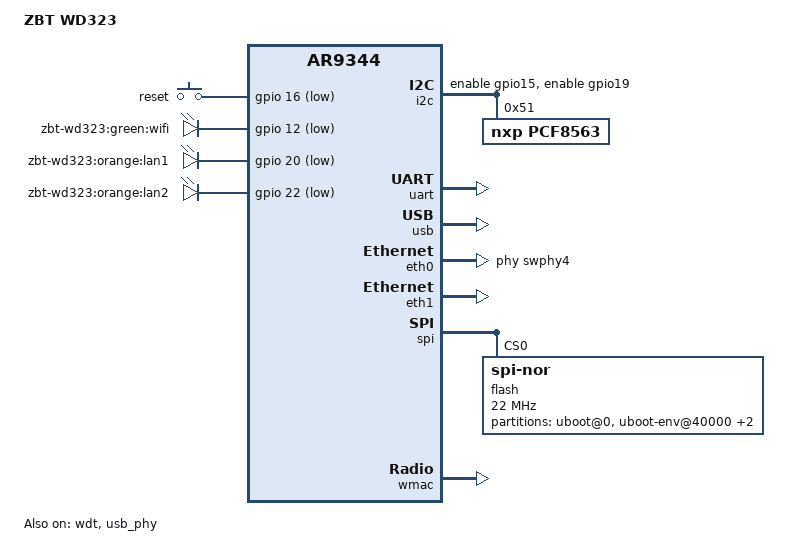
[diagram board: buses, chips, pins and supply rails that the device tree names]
// SPDX-License-Identifier: GPL-2.0-or-later OR MIT
/dts-v1/;

#include <dt-bindings/gpio/gpio.h>
#include <dt-bindings/input/input.h>

#include "ar9344.dtsi"

/ {
	model = "ZBT WD323";
	compatible = "zbtlink,zbt-wd323", "qca,ar9344";

	keys {
		compatible = "gpio-keys";

		reset {
			label = "reset";
			gpios = <&gpio 16 GPIO_ACTIVE_LOW>;
			linux,code = <KEY_RESTART>;
		};
	};

	i2c {
		compatible = "i2c-gpio";
		#address-cells = <1>;
		#size-cells = <0>;

		pinctrl-names = "default";
		pinctrl-0 = <&enable_gpio15 &enable_gpio19>;

		sda-gpios = <&gpio 19 GPIO_ACTIVE_LOW>;
		scl-gpios = <&gpio 15 GPIO_ACTIVE_LOW>;

		/* can be removed on 4.19 */
		gpios = <&gpio 19 GPIO_ACTIVE_LOW>,
			<&gpio 15 GPIO_ACTIVE_LOW>;

		pcf8563: pcf8563@51 {
			compatible = "nxp,pcf8563";
			reg = <0x51>;
			#clock-cells = <0>;
		};
	};

	leds {
		compatible = "gpio-leds";

		pinctrl-names = "default";
		pinctrl-0 = <&enable_gpio20_gpio22>;

		wifi {
			label = "zbt-wd323:green:wifi";
			gpios = <&gpio 12 GPIO_ACTIVE_LOW>;
			linux,default-trigger = "phy0tpt";
		};

		lan1 {
			label = "zbt-wd323:orange:lan1";
			gpios = <&gpio 20 GPIO_ACTIVE_LOW>;
		};

		lan2 {
			label = "zbt-wd323:orange:lan2";
			gpios = <&gpio 22 GPIO_ACTIVE_LOW>;
		};
	};
};

&wdt {
	status = "okay";

	pinctrl-names = "default";
	pinctrl-0 = <&enable_gpio21>;
};

&uart {
	status = "okay";
};

&gpio {
	pinctrl-names = "default";
	pinctrl-0 = <&jtag_disable_pins>;
};

&usb {
	status = "okay";
};

&usb_phy {
	status = "okay";
};

&eth0 {
	status = "okay";
	phy-handle = <&swphy4>;
	mtd-mac-address = <&art 0x0>;
};

&eth1 {
	status = "okay";
	mtd-mac-address = <&art 0x6>;
};

&spi {
	num-chipselects = <1>;
	status = "okay";

	flash@0 {
		compatible = "jedec,spi-nor";
		spi-max-frequency = <22000000>;
		reg = <0>;

		partitions {
			compatible = "fixed-partitions";
			#address-cells = <1>;
			#size-cells = <1>;

			uboot@0 {
				reg = <0x0 0x40000>;
				read-only;
			};

			uboot-env@40000 {
				reg = <0x40000 0x10000>;
				read-only;
			};

			firmware@50000 {
				compatible = "denx,uimage";
				reg = <0x50000 0xfa0000>;
			};

			art: art@ff0000 {
				reg = <0xff0000 0x10000>;
				read-only;
			};
		};
	};
};

&wmac {
	status = "okay";
	mtd-cal-data = <&art 0x1000>;
};

&pinmux {
	enable_gpio15: pinmux_enable_gpio15 {
		pinctrl-single,bits = <0xc 0x0 0xff000000>;
	};

	enable_gpio19: pinmux_enable_gpio19 {
		pinctrl-single,bits = <0x10 0x0 0xff000000>;
	};

	enable_gpio20_gpio22: pinmux_enable_gpio20_gpio22 {
		pinctrl-single,bits = <0x14 0x0 0xff00ff>;
	};

	enable_gpio21: pinmux_enable_gpio21 {
		pinctrl-single,bits = <0x14 0x0 0xff00>;
	};
};
